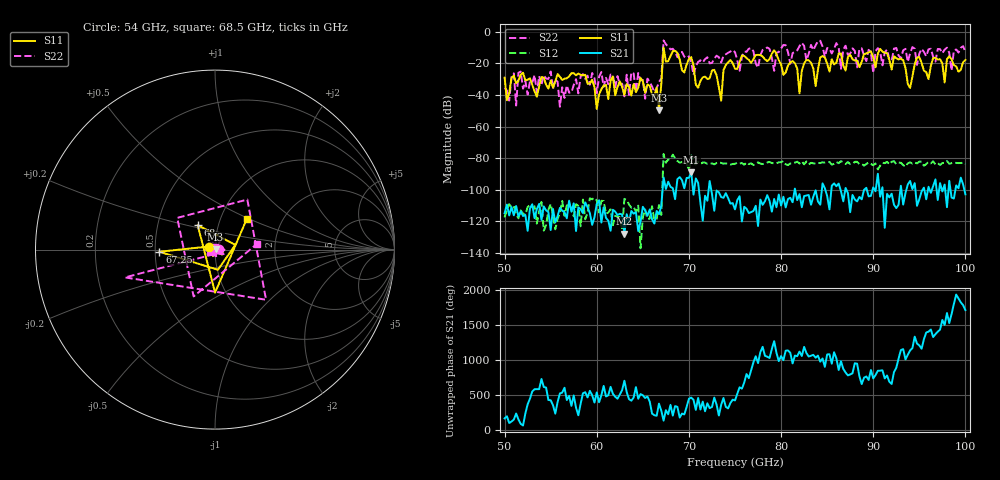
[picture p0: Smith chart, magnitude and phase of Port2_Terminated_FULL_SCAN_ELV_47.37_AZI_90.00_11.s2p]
! 11/25/2026 1:43:50 PM
! C:\ANRITSUVNA\TEMP\TEMP.S2P
! CHANNEL.1
! TR.MEASUREMENT
! RAW.DATA
# HZ S RI R 50.0
! FREQ.HZ  S11RE  S11IM  S21RE  S21IM  S12RE  S12IM  S22RE  S22IM
!; PortSelection: Port_12
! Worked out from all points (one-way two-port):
!   201 points, 50 GHz to 100 GHz, reference 50 ohm
!   highest |S21| = -88.94 dB at 70.25 GHz (marker M1); lowest = -127.7 dB at 63 GHz (marker M2)
!   lowest |S11| = -49.7 dB at 66.75 GHz (marker M3), VSWR 1.01, Z = 50.3 + j0.0704 ohm
!   |S11| at or under -10 dB: start of sweep to end of sweep
!   |S22| runs from -47.5 to -5.6 dB; largest |S21 - S12| = 0.00014
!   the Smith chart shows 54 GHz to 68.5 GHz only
!   S11 on the Smith chart (normalised r, x): 54 GHz: 0.93, +0.03; 67.25 GHz: 0.53, -0.01; 68 GHz: 0.80, +0.22; 68.5 GHz: 1.33, +0.49
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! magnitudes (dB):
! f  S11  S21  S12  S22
! 50 GHz  -29.1  -114.8  -117.5  -35.6
! 54 GHz  -28.7  -119.0  -107.6  -33.8
! 55 GHz  -30.9  -125.4  -108.9  -25.2
! 56 GHz  -28.6  -111.4  -114.7  -47.5
! 58.5 GHz  -27.7  -114.7  -106.1  -26.9
! 60 GHz  -48.8  -108.9  -106.7  -38.9
! 63 GHz  -40.1  -127.7  -105.7  -40.9
! 66.75 GHz  -49.7  -115.3  -109.6  -31.9
! 67.25 GHz  -10.2  -92.1  -77.3  -5.6
! 68 GHz  -15.5  -98.1  -80.5  -11.2
! 68.5 GHz  -12.1  -105.9  -80.1  -12.6
! 70.25 GHz  -16.1  -88.9  -78.2  -19.2
! 73.5 GHz  -43.6  -104.6  -83.0  -19.5
! 73.75 GHz  -24.3  -105.1  -83.5  -15.3
! 75 GHz  -23.5  -112.3  -83.6  -13.0
! 79.25 GHz  -11.8  -105.8  -83.4  -24.8
! 82 GHz  -39.0  -102.7  -83.4  -9.2
! 83.5 GHz  -23.4  -104.2  -83.2  -11.7
! 91.75 GHz  -18.2  -104.8  -83.9  -17.5
! 94 GHz  -35.6  -94.4  -82.6  -13.6
! 94.75 GHz  -16.5  -110.1  -83.3  -21.1
! 100 GHz  -17.9  -102.9  -83.8  -12.8
